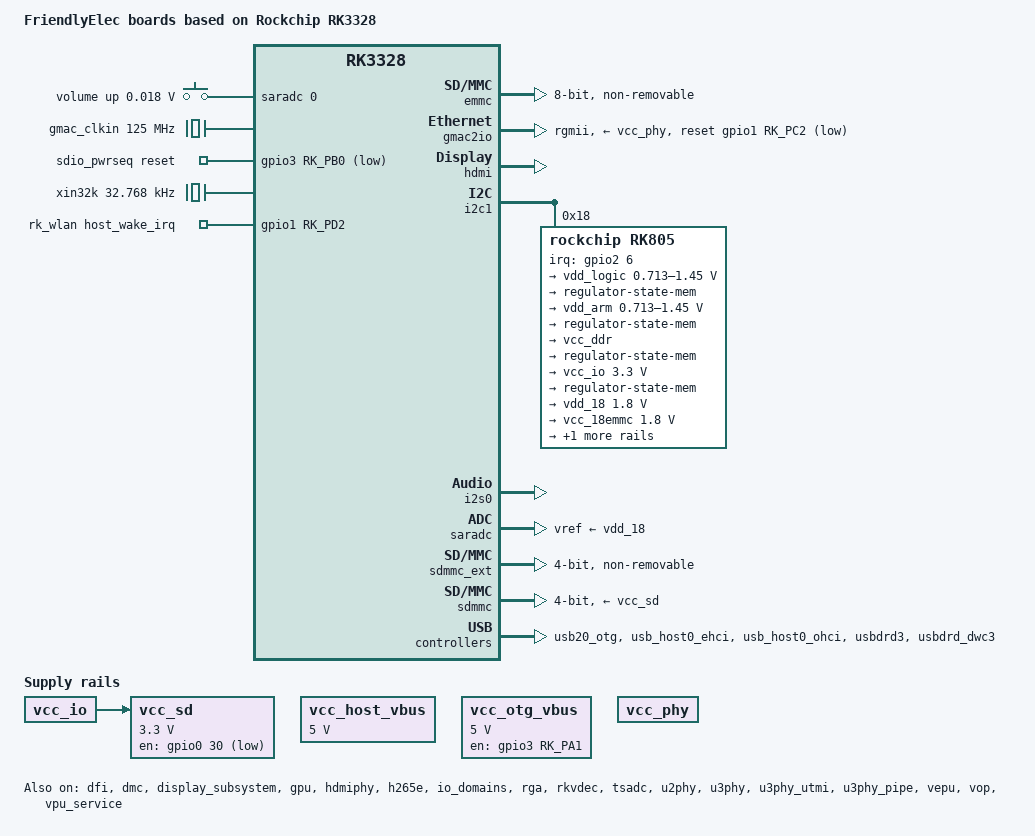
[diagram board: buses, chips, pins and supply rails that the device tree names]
/*
 * Copyright (c) 2018 FriendlyElec Computer Tech. Co., Ltd.
 * (http://www.friendlyarm.com)
 *
 * Copyright (c) 2016 Fuzhou Rockchip Electronics Co., Ltd
 *
 * This file is dual-licensed: you can use it either under the terms
 * of the GPL or the X11 license, at your option. Note that this dual
 * licensing only applies to this file, and not this project as a
 * whole.
 *
 *  a) This library is free software; you can redistribute it and/or
 *     modify it under the terms of the GNU General Public License as
 *     published by the Free Software Foundation; either version 2 of the
 *     License, or (at your option) any later version.
 *
 *     This library is distributed in the hope that it will be useful,
 *     but WITHOUT ANY WARRANTY; without even the implied warranty of
 *     MERCHANTABILITY or FITNESS FOR A PARTICULAR PURPOSE.  See the
 *     GNU General Public License for more details.
 *
 * Or, alternatively,
 *
 *  b) Permission is hereby granted, free of charge, to any person
 *     obtaining a copy of this software and associated documentation
 *     files (the "Software"), to deal in the Software without
 *     restriction, including without limitation the rights to use,
 *     copy, modify, merge, publish, distribute, sublicense, and/or
 *     sell copies of the Software, and to permit persons to whom the
 *     Software is furnished to do so, subject to the following
 *     conditions:
 *
 *     The above copyright notice and this permission notice shall be
 *     included in all copies or substantial portions of the Software.
 *
 *     THE SOFTWARE IS PROVIDED "AS IS", WITHOUT WARRANTY OF ANY KIND,
 *     EXPRESS OR IMPLIED, INCLUDING BUT NOT LIMITED TO THE WARRANTIES
 *     OF MERCHANTABILITY, FITNESS FOR A PARTICULAR PURPOSE AND
 *     NONINFRINGEMENT. IN NO EVENT SHALL THE AUTHORS OR COPYRIGHT
 *     HOLDERS BE LIABLE FOR ANY CLAIM, DAMAGES OR OTHER LIABILITY,
 *     WHETHER IN AN ACTION OF CONTRACT, TORT OR OTHERWISE, ARISING
 *     FROM, OUT OF OR IN CONNECTION WITH THE SOFTWARE OR THE USE OR
 *     OTHER DEALINGS IN THE SOFTWARE.
 */

#include "rk3328.dtsi"
#include <dt-bindings/input/input.h>

/ {
	model = "FriendlyElec boards based on Rockchip RK3328";
	compatible = "friendlyelec,nanopi-r2",
		   "rockchip,rk3328";

	chosen {
		bootargs = "earlycon=uart8250,mmio32,0xff130000 swiotlb=1 kpti=0 console=ttyFIQ0 root=PARTUUID=614e0000-0000 rootwait coherent_pool=1m";
	};

	mach: board {
		compatible = "friendlyelec,board";
		machine = "NANOPI-R2";
		hwrev = <255>;
		model = "NanoPi R2 Series";
	};

	fiq-debugger {
		compatible = "rockchip,fiq-debugger";
		rockchip,serial-id = <2>;
		rockchip,signal-irq = <159>;
		rockchip,wake-irq = <0>;
		/* If enable uart uses irq instead of fiq */
		rockchip,irq-mode-enable = <0>;
		rockchip,baudrate = <1500000>;  /* Only 115200 and 1500000 */
		interrupts = <GIC_SPI 127 IRQ_TYPE_LEVEL_LOW>;
		status = "okay";
	};

	adc-keys {
		compatible = "adc-keys";
		io-channels = <&saradc 0>;
		io-channel-names = "buttons";
		poll-interval = <100>;
		keyup-threshold-microvolt = <1800000>;

		vol-up-key {
			linux,code = <KEY_VOLUMEUP>;
			label = "volume up";
			press-threshold-microvolt = <18000>;
		};
	};

	gmac_clkin: external-gmac-clock {
		compatible = "fixed-clock";
		clock-frequency = <125000000>;
		clock-output-names = "gmac_clkin";
		#clock-cells = <0>;
	};

	reserved-memory {
		#address-cells = <2>;
		#size-cells = <2>;
		ranges;

		drm_logo: drm-logo@00000000 {
			compatible = "rockchip,drm-logo";
			reg = <0x0 0x0 0x0 0x0>;
		};
	};

	leds: gpio-leds {
		compatible = "gpio-leds";
		pinctrl-names = "default";
		pinctrl-0 =<&leds_gpio>;
		status = "disabled";

		led@1 {
			gpios = <&gpio0 RK_PA2 GPIO_ACTIVE_HIGH>;
			label = "status_led";
			linux,default-trigger = "heartbeat";
			linux,default-trigger-delay-ms = <0>;
		};
	};

	sdio_pwrseq: sdio-pwrseq {
		compatible = "mmc-pwrseq-simple";
		clocks = <&rk805 1>;
		clock-names = "ext_clock";
		pinctrl-names = "default";
		pinctrl-0 = <&wifi_enable_h>;

		/*
		 * On the module itself this is one of these (depending
		 * on the actual card populated):
		 * - SDIO_RESET_L_WL_REG_ON
		 * - PDN (power down when low)
		 */
		reset-gpios = <&gpio3 RK_PB0 GPIO_ACTIVE_LOW>;
	};

	sound {
		status = "disabled";
		compatible = "simple-audio-card";
		simple-audio-card,format = "i2s";
		simple-audio-card,mclk-fs = <256>;
		simple-audio-card,name = "rockchip,rk3328";
		simple-audio-card,cpu {
			sound-dai = <&i2s1>;
		};
		simple-audio-card,codec {
			sound-dai = <&codec>;
		};
	};

	hdmi-sound {
		compatible = "simple-audio-card";
		simple-audio-card,format = "i2s";
		simple-audio-card,mclk-fs = <128>;
		simple-audio-card,name = "rockchip,hdmi";
		simple-audio-card,cpu {
			sound-dai = <&i2s0>;
		};
		simple-audio-card,codec {
			sound-dai = <&hdmi>;
		};
	};

	spdif-sound {
		status = "disabled";
		compatible = "simple-audio-card";
		simple-audio-card,name = "rockchip,spdif";
		simple-audio-card,cpu {
			sound-dai = <&spdif>;
		};
		simple-audio-card,codec {
			sound-dai = <&spdif_out>;
		};
	};

	spdif_out: spdif-out {
		status = "disabled";
		compatible = "linux,spdif-dit";
		#sound-dai-cells = <0>;
	};

	vcc_host_vbus: host-vbus-regulator {
		compatible = "regulator-fixed";
		regulator-name = "vcc_host_vbus";
		regulator-always-on;
		regulator-boot-on;
		regulator-min-microvolt = <5000000>;
		regulator-max-microvolt = <5000000>;
	};

	vcc_otg_vbus: otg-vbus-regulator {
		compatible = "regulator-fixed";
		gpio = <&gpio3 RK_PA1 GPIO_ACTIVE_HIGH>;
		pinctrl-names = "default";
		pinctrl-0 = <&otg_vbus_drv>;
		regulator-name = "vcc_otg_vbus";
		regulator-min-microvolt = <5000000>;
		regulator-max-microvolt = <5000000>;
		enable-active-high;
	};

	vcc_phy: vcc-phy-regulator {
		compatible = "regulator-fixed";
		regulator-name = "vcc_phy";
		regulator-always-on;
		regulator-boot-on;
	};

	vcc_sd: sdmmc-regulator {
		compatible = "regulator-fixed";
		gpio = <&gpio0 30 GPIO_ACTIVE_LOW>;
		pinctrl-names = "default";
		pinctrl-0 = <&sdmmc0m1_gpio>;
		regulator-name = "vcc_sd";
		regulator-min-microvolt = <3300000>;
		regulator-max-microvolt = <3300000>;
		vin-supply = <&vcc_io>;
	};

	vccio_sd: sdmmcio-regulator {
		compatible = "regulator-gpio";
		gpios = <&gpio1 RK_PD4 GPIO_ACTIVE_HIGH>;
		states = <1800000 0x1
			  3300000 0x0>;
		regulator-name = "vccio_sd";
		regulator-type = "voltage";
		regulator-min-microvolt = <1800000>;
		regulator-max-microvolt = <3300000>;
		regulator-always-on;
		vin-supply = <&vcc_io>;
		startup-delay-us = <2000>;
		regulator-settling-time-us = <5000>;
		enable-active-high;
		status = "disabled";
	};

	xin32k: xin32k {
		compatible = "fixed-clock";
		clock-frequency = <32768>;
		clock-output-names = "xin32k";
		#clock-cells = <0>;
	};

	rk_wlan: wireless-wlan {
		compatible = "wlan-platdata";
		rockchip,grf = <&grf>;
		wifi_chip_type = "ap6255";
		sdio_vref = <1800>;
		WIFI,host_wake_irq = <&gpio1 RK_PD2 GPIO_ACTIVE_HIGH>;
		status = "okay";
	};

	rk_bluetooth: wireless-bluetooth {
		compatible = "bluetooth-platdata";
		clocks = <&rk805 1>;
		clock-names = "ext_clock";
		status = "okay";
	};
};

&codec {
	#sound-dai-cells = <0>;
	status = "disabled";
};

&cpu0 {
	cpu-supply = <&vdd_arm>;
};

&dfi {
	status = "okay";
};

&dmc {
	center-supply = <&vdd_logic>;
	status = "okay";
};

&display_subsystem {
	logo-memory-region = <&drm_logo>;
	status = "okay";

	route {
		route_hdmi: route-hdmi {
			status = "okay";
			logo,uboot = "logo.bmp";
			logo,kernel = "logo_kernel.bmp";
			logo,mode = "fullscreen";
			charge_logo,mode = "fullscreen";
			connect = <&vop_out_hdmi>;
		};
	};
};

&emmc {
	bus-width = <8>;
	cap-mmc-highspeed;
	mmc-hs200-1_8v;
	supports-emmc;
	disable-wp;
	non-removable;
	num-slots = <1>;
	pinctrl-names = "default";
	pinctrl-0 = <&emmc_clk &emmc_cmd &emmc_bus8>;
	status = "okay";
};

&gmac2io {
	phy-supply = <&vcc_phy>;
	phy-mode = "rgmii";
	clock_in_out = "input";
	snps,reset-gpio = <&gpio1 RK_PC2 GPIO_ACTIVE_LOW>;
	snps,reset-active-low;
	snps,reset-delays-us = <0 10000 50000>;
	assigned-clocks = <&cru SCLK_MAC2IO>, <&cru SCLK_MAC2IO_EXT>;
	assigned-clock-parents = <&gmac_clkin>, <&gmac_clkin>;
	pinctrl-names = "default";
	pinctrl-0 = <&rgmiim1_pins>;
	tx_delay = <0x26>;
	rx_delay = <0x11>;
	status = "okay";
};

&gmac2phy {
	phy-supply = <&vcc_phy>;
	clock_in_out = "output";
	assigned-clocks = <&cru SCLK_MAC2PHY_SRC>;
	assigned-clock-rate = <50000000>;
	assigned-clocks = <&cru SCLK_MAC2PHY>;
	assigned-clock-parents = <&cru SCLK_MAC2PHY_SRC>;
	status = "disabled";
};

&gpu {
	status = "okay";
	mali-supply = <&vdd_logic>;
};

&hdmi {
	#sound-dai-cells = <0>;
	ddc-i2c-scl-high-time-ns = <9625>;
	ddc-i2c-scl-low-time-ns = <10000>;
	status = "okay";
};

&hdmiphy {
	status = "okay";
};

&i2c1 {
	status = "okay";

	rk805: rk805@18 {
		compatible = "rockchip,rk805";
		status = "okay";
		reg = <0x18>;
		interrupt-parent = <&gpio2>;
		interrupts = <6 IRQ_TYPE_LEVEL_LOW>;
		pinctrl-names = "default";
		pinctrl-0 = <&pmic_int_l>;
		rockchip,system-power-controller;
		wakeup-source;
		gpio-controller;
		#gpio-cells = <2>;
		#clock-cells = <1>;
		clock-output-names = "rk805-clkout1", "rk805-clkout2";

		rtc {
			status = "okay";
		};

		pwrkey {
			status = "disabled";
		};

		gpio {
			status = "okay";
		};

		regulators {
			compatible = "rk805-regulator";
			status = "okay";
			#address-cells = <1>;
			#size-cells = <0>;

			vdd_logic: RK805_DCDC1 {
				regulator-compatible = "RK805_DCDC1";
				regulator-name = "vdd_logic";
				regulator-init-microvolt = <1000000>;
				regulator-min-microvolt = <712500>;
				regulator-max-microvolt = <1450000>;
				regulator-initial-mode = <0x1>;
				regulator-ramp-delay = <12500>;
				regulator-boot-on;
				regulator-always-on;
				regulator-state-mem {
					regulator-mode = <0x2>;
					regulator-on-in-suspend;
					regulator-suspend-microvolt = <1000000>;
				};
			};

			vdd_arm: RK805_DCDC2 {
				regulator-compatible = "RK805_DCDC2";
				regulator-name = "vdd_arm";
				regulator-init-microvolt = <1225000>;
				regulator-min-microvolt = <712500>;
				regulator-max-microvolt = <1450000>;
				regulator-initial-mode = <0x1>;
				regulator-ramp-delay = <12500>;
				regulator-boot-on;
				regulator-always-on;
				regulator-state-mem {
					regulator-mode = <0x2>;
					regulator-on-in-suspend;
					regulator-suspend-microvolt = <950000>;
				};
			};

			vcc_ddr: RK805_DCDC3 {
				regulator-compatible = "RK805_DCDC3";
				regulator-name = "vcc_ddr";
				regulator-initial-mode = <0x1>;
				regulator-boot-on;
				regulator-always-on;
				regulator-state-mem {
					regulator-mode = <0x2>;
					regulator-on-in-suspend;
				};
			};

			vcc_io: RK805_DCDC4 {
				regulator-compatible = "RK805_DCDC4";
				regulator-name = "vcc_io";
				regulator-min-microvolt = <3300000>;
				regulator-max-microvolt = <3300000>;
				regulator-initial-mode = <0x1>;
				regulator-boot-on;
				regulator-always-on;
				regulator-state-mem {
					regulator-mode = <0x2>;
					regulator-on-in-suspend;
					regulator-suspend-microvolt = <3300000>;
				};
			};

			vdd_18: RK805_LDO1 {
				regulator-compatible = "RK805_LDO1";
				regulator-name = "vdd_18";
				regulator-min-microvolt = <1800000>;
				regulator-max-microvolt = <1800000>;
				regulator-boot-on;
				regulator-always-on;
				regulator-state-mem {
					regulator-on-in-suspend;
					regulator-suspend-microvolt = <1800000>;
				};
			};

			vcc_18emmc: RK805_LDO2 {
				regulator-compatible = "RK805_LDO2";
				regulator-name = "vcc_18emmc";
				regulator-min-microvolt = <1800000>;
				regulator-max-microvolt = <1800000>;
				regulator-boot-on;
				regulator-always-on;
				regulator-state-mem {
					regulator-on-in-suspend;
					regulator-suspend-microvolt = <1800000>;
				};
			};

			vdd_11: RK805_LDO3 {
				regulator-compatible = "RK805_LDO3";
				regulator-name = "vdd_11";
				regulator-min-microvolt = <1100000>;
				regulator-max-microvolt = <1100000>;
				regulator-boot-on;
				regulator-always-on;
				regulator-state-mem {
					regulator-on-in-suspend;
					regulator-suspend-microvolt = <1100000>;
				};
			};
		};
	};
};

&h265e {
	status = "okay";
};

&i2s0 {
	#sound-dai-cells = <0>;
	rockchip,bclk-fs = <128>;
	status = "okay";
};

&i2s1 {
	#sound-dai-cells = <0>;
	status = "disabled";
};

&io_domains {
	status = "okay";

	vccio1-supply = <&vcc_io>;
	vccio2-supply = <&vcc_18emmc>;
	vccio3-supply = <&vcc_io>;
	vccio4-supply = <&vcc_io>;
	vccio5-supply = <&vcc_io>;
	vccio6-supply = <&vdd_18>;
	pmuio-supply = <&vcc_io>;
};

&pwm3 {
	status = "disabled";
	compatible = "rockchip,remotectl-pwm";
	pinctrl-names = "default";
	pinctrl-0 = <&pwmir_pin>;
	remote_pwm_id = <3>;
	handle_cpu_id = <1>;
	remote_support_psci = <1>;

	ir_key1 {
		rockchip,usercode = <0xc43b>;
		rockchip,key_table =
			<0xff	116>,
			<0xef	105>,
			<0xed	106>,
			<0xf2	103>,
			<0xea	108>,
			<0xee	232>,
			<0xe9	113>,
			<0xf1	114>,
			<0xf3	115>,
			<0xae	139>,
			<0xeb	102>,
			<0xaf	158>,
			<0xf7	216>,
			<0xe5	 99>,
			<0xf5	388>;
	};
};

&rga {
	status = "okay";
};

&rkvdec {
	vcodec-supply = <&vdd_logic>;
	status = "okay";
};

&rockchip_suspend {
	status = "okay";
	rockchip,virtual-poweroff = <1>;
};

&saradc {
	status = "okay";
	vref-supply = <&vdd_18>;
};

&sdio {
	status = "disabled";
};

&sdmmc_ext {
	bus-width = <4>;
	cap-sd-highspeed;
	cap-sdio-irq;
	disable-wp;
	keep-power-in-suspend;
	max-frequency = <100000000>;
	mmc-pwrseq = <&sdio_pwrseq>;
	non-removable;
	num-slots = <1>;
	pinctrl-names = "default";
	pinctrl-0 = <&sdmmc0ext_clk &sdmmc0ext_cmd &sdmmc0ext_bus4>;
	supports-sdio;
	sd-uhs-sdr104;
	status = "okay";
};

&sdmmc {
	bus-width = <4>;
	cap-mmc-highspeed;
	cap-sd-highspeed;
	disable-wp;
	max-frequency = <150000000>;
	num-slots = <1>;
	pinctrl-names = "default";
	pinctrl-0 = <&sdmmc0_clk &sdmmc0_cmd &sdmmc0_dectn &sdmmc0_bus4>;
	supports-sd;
	status = "okay";
	vmmc-supply = <&vcc_sd>;
};

&spdif {
	#sound-dai-cells = <0>;
	status = "disabled";
};

&tsadc {
	status = "okay";
};

&u2phy {
	status = "okay";

	u2phy_host: host-port {
		status = "okay";
	};

	u2phy_otg: otg-port {
		vbus-supply = <&vcc_otg_vbus>;
		status = "okay";
	};
};

&u3phy {
	vbus-supply = <&vcc_host_vbus>;
	status = "okay";
};

&u3phy_utmi {
	status = "okay";
};

&u3phy_pipe {
	status = "okay";
};

&usb20_otg {
	status = "okay";
};

&usb_host0_ehci {
	status = "okay";
};

&usb_host0_ohci {
	status = "okay";
};

&usbdrd3 {
	status = "okay";
};

&usbdrd_dwc3 {
	status = "okay";
};

&vepu {
	status = "okay";
};

&vop {
	status = "okay";
};

&vop_mmu {
	status = "okay";
};

&vpu_service {
	status = "okay";
};

&pinctrl {
	pmic {
		pmic_int_l: pmic-int-l {
			rockchip,pins = <2 RK_PA6 RK_FUNC_GPIO &pcfg_pull_up>;
		};
	};

	sdio-pwrseq {
		wifi_enable_h: wifi-enable-h {
			rockchip,pins = <3 RK_PB0 RK_FUNC_GPIO &pcfg_pull_none>;
		};
	};

	usb {
		host_vbus_drv: host-vbus-drv {
			rockchip,pins = <0 RK_PA0 RK_FUNC_GPIO &pcfg_pull_none>;
		};

		otg_vbus_drv: otg-vbus-drv {
			rockchip,pins = <3 RK_PA1 RK_FUNC_GPIO &pcfg_pull_none>;
		};
	};

	gpio-leds {
		leds_gpio: leds-gpio {
			rockchip,pins = <0 RK_PA2 RK_FUNC_GPIO &pcfg_pull_none>;
	   };
	};
};
